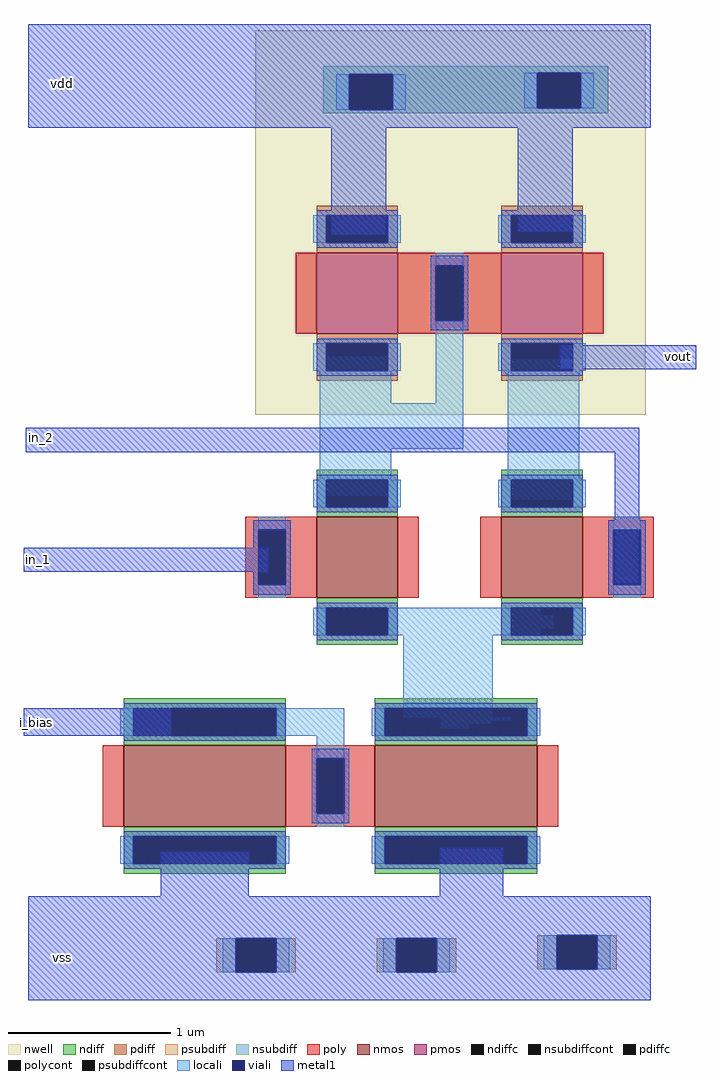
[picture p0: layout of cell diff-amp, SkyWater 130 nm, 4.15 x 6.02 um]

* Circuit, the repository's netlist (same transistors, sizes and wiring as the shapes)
* NGSPICE file created from diff-amp.ext - technology: sky130A

* Include SkyWater sky130 device models
.include "/home/mhasan13/pdk/skywater-pdk/libraries/sky130_fd_pr/latest/models/r+c/res_typical__cap_typical__lin.spice"
.include "/home/mhasan13/pdk/skywater-pdk/libraries/sky130_fd_pr/latest/models/r+c/res_typical__cap_typical.spice"
.include "/home/mhasan13/pdk/skywater-pdk/libraries/sky130_fd_pr/latest/models/corners/tt.spice"

* Vdd vdd gnd DC 0.7
* Vgnd vss gnd DC 0.0
* Ibias vdd i_bias DC 1n
* Vref in_2 vout DC 0.0
* Vin in_1 gnd DC 0.2 

Vdd vdd gnd DC 0.7
Vgnd vss gnd DC 0.0
Ibias vdd i_bias DC 1n
Vshort in_2 vout DC 0.0
Vin in_1 gnd DC PULSE(0 0.7 100p 1u 1u 10u 20u)

.subckt sky130_fd_pr__pfet_01v8_hymyl3 VSUBS a_n50_n112# a_50_n86# w_n144_n148# a_n108_n86#
X0 a_50_n86# a_n50_n112# a_n108_n86# w_n144_n148# sky130_fd_pr__pfet_01v8 w=500000u l=500000u
.ends

.subckt sky130_fd_pr__nfet_01v8_2qpbu2 VSUBS a_n108_n131# a_n50_n157# a_50_n131#
X0 a_50_n131# a_n50_n157# a_n108_n131# VSUBS sky130_fd_pr__nfet_01v8 w=1e+06u l=500000u
.ends

.subckt sky130_fd_pr__nfet_01v8_hhwku0 VSUBS a_n50_n107# a_50_n81# a_n108_n81#
X0 a_50_n81# a_n50_n107# a_n108_n81# VSUBS sky130_fd_pr__nfet_01v8 w=500000u l=500000u
.ends

.subckt diff-amp in_1 in_2 i_bias vdd vss vout
Xsky130_fd_pr__pfet_01v8_hymyl3_0 vss li_92_184# li_92_184# vdd vdd sky130_fd_pr__pfet_01v8_hymyl3
Xsky130_fd_pr__pfet_01v8_hymyl3_1 vss li_92_184# vdd vdd vout sky130_fd_pr__pfet_01v8_hymyl3
Xsky130_fd_pr__nfet_01v8_2qpbu2_0 vss vss i_bias li_176_12# sky130_fd_pr__nfet_01v8_2qpbu2
Xsky130_fd_pr__nfet_01v8_2qpbu2_1 vss i_bias i_bias vss sky130_fd_pr__nfet_01v8_2qpbu2
Xsky130_fd_pr__nfet_01v8_hhwku0_0 vss in_1 li_92_184# li_176_12# sky130_fd_pr__nfet_01v8_hhwku0
Xsky130_fd_pr__nfet_01v8_hhwku0_1 vss in_2 li_176_12# vout sky130_fd_pr__nfet_01v8_hhwku0
.ends



*instantiate
Xdiff in_1 in_2 i_bias vdd vss vout diff-amp

.control
* dc Vin 0 0.7 0.01
* plot v(in_2) v(in_1) v(vout)

tran 100n 50u
plot v(in_1) v(vout)
.endc
.end

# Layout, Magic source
magic
tech sky130A
magscale 1 2
<< nwell >>
rect 12 284 494 758
<< psubdiff >>
rect -36 -404 -12 -362
rect 38 -404 62 -362
rect 162 -404 186 -362
rect 236 -404 260 -362
rect 360 -400 384 -358
rect 434 -400 458 -358
<< nsubdiff >>
rect 96 706 448 714
rect 96 704 360 706
rect 96 660 128 704
rect 182 662 360 704
rect 414 662 448 706
rect 182 660 448 662
rect 96 656 448 660
<< psubdiffcont >>
rect -12 -404 38 -362
rect 186 -404 236 -362
rect 384 -400 434 -358
<< nsubdiffcont >>
rect 128 660 182 704
rect 360 662 414 706
<< locali >>
rect 112 660 128 704
rect 182 660 198 704
rect 344 662 360 706
rect 414 662 430 706
rect 92 298 180 356
rect 235 298 269 389
rect 92 242 269 298
rect 92 184 180 242
rect 324 180 412 352
rect 176 36 364 46
rect 176 20 380 36
rect 176 12 364 20
rect 48 -110 122 -78
rect 195 -89 305 12
rect 241 -93 327 -89
rect 241 -97 303 -93
rect 241 -103 275 -97
rect 50 -112 122 -110
rect 88 -134 122 -112
rect -28 -404 -12 -362
rect 38 -404 54 -362
rect 170 -404 186 -362
rect 236 -404 252 -362
rect 368 -400 384 -358
rect 434 -400 450 -358
<< viali >>
rect 128 660 182 704
rect 360 662 414 706
rect -12 -404 38 -362
rect 186 -404 236 -362
rect 384 -400 434 -358
<< metal1 >>
rect -268 706 500 766
rect -268 704 360 706
rect -268 660 128 704
rect 182 662 360 704
rect 414 662 500 706
rect 182 660 500 662
rect -268 638 500 660
rect 106 506 174 638
rect 336 510 404 638
rect 388 340 556 370
rect -271 238 486 268
rect -273 90 28 120
rect 456 76 486 238
rect -273 -112 -92 -78
rect -104 -310 4 -256
rect 240 -310 318 -250
rect -268 -358 500 -310
rect -268 -362 384 -358
rect -268 -404 -12 -362
rect 38 -404 186 -362
rect 236 -400 384 -362
rect 434 -400 500 -358
rect 236 -404 500 -400
rect -268 -438 500 -404
use sky130_fd_pr__nfet_01v8_2qpbu2  sky130_fd_pr__nfet_01v8_2qpbu2_1
transform 0 1 -19 -1 0 -174
box -108 -157 108 157
use sky130_fd_pr__nfet_01v8_hhwku0  sky130_fd_pr__nfet_01v8_hhwku0_0
transform 0 -1 107 1 0 108
box -108 -107 108 107
use sky130_fd_pr__pfet_01v8_hymyl3  sky130_fd_pr__pfet_01v8_hymyl3_0
transform 0 1 174 -1 0 434
box -144 -148 144 114
use sky130_fd_pr__pfet_01v8_hymyl3  sky130_fd_pr__pfet_01v8_hymyl3_1
transform 0 -1 330 1 0 434
box -144 -148 144 114
use sky130_fd_pr__nfet_01v8_hhwku0  sky130_fd_pr__nfet_01v8_hhwku0_1
transform 0 1 397 -1 0 108
box -108 -107 108 107
use sky130_fd_pr__nfet_01v8_2qpbu2  sky130_fd_pr__nfet_01v8_2qpbu2_0
transform 0 -1 229 1 0 -174
box -108 -157 108 157
<< labels >>
flabel metal1 -264 100 -246 112 0 FreeSans 800 0 0 0 in_1
port 0 nsew
flabel metal1 -260 250 -242 262 0 FreeSans 800 0 0 0 in_2
port 1 nsew
flabel metal1 -266 -102 -248 -90 0 FreeSans 800 0 0 0 i_bias
port 2 nsew
flabel metal1 -234 686 -216 698 0 FreeSans 800 0 0 0 vdd
port 3 nsew
flabel metal1 -234 -392 -216 -380 0 FreeSans 800 0 0 0 vss
port 5 nsew
flabel metal1 530 350 538 362 0 FreeSans 800 0 0 0 vout
port 7 nsew
<< end >>

# cell sky130_fd_pr__nfet_01v8_2qpbu2: kit device sky130_fd_pr__nfet_01v8, w 1 l 0.5 m 1 nf 1 diffcov 100 polycov 100 guard 0 glc 0 grc 0 gtc 0 gbc 0 tbcov 100 rlcov 100 topc 1 botc 0 poverlap 0 doverlap 1 lmin 0.15 wmin 0.42 compatible {sky130_fd_pr__nfet_01v8 sky130_fd_pr__nfet_01v8_lvt sky130_fd_bs_flash__special_sonosfet_star sky130_fd_pr__nfet_g5v0d10v5 sky130_fd_pr__nfet_05v0_nvt} full_metal 0 viasrc 100 viadrn 100 viagate 100 viagb 0 viagr 0 viagl 0 viagt 0

# cell sky130_fd_pr__nfet_01v8_hhwku0: kit device sky130_fd_pr__nfet_01v8, w 0.5 l 0.5 m 1 nf 1 diffcov 100 polycov 100 guard 0 glc 0 grc 0 gtc 0 gbc 0 tbcov 100 rlcov 100 topc 1 botc 0 poverlap 0 doverlap 1 lmin 0.15 wmin 0.42 compatible {sky130_fd_pr__nfet_01v8 sky130_fd_pr__nfet_01v8_lvt sky130_fd_bs_flash__special_sonosfet_star sky130_fd_pr__nfet_g5v0d10v5 sky130_fd_pr__nfet_05v0_nvt} full_metal 0 viasrc 100 viadrn 100 viagate 100 viagb 0 viagr 0 viagl 0 viagt 0

# cell sky130_fd_pr__pfet_01v8_hymyl3: kit device sky130_fd_pr__pfet_01v8, w 0.5 l 0.5 m 1 nf 1 diffcov 100 polycov 100 guard 0 glc 0 grc 0 gtc 0 gbc 0 tbcov 100 rlcov 100 topc 1 botc 0 poverlap 0 doverlap 1 lmin 0.15 wmin 0.42 compatible {sky130_fd_pr__pfet_01v8 sky130_fd_pr__pfet_01v8_lvt sky130_fd_pr__pfet_01v8_hvt sky130_fd_pr__pfet_g5v0d10v5} full_metal 0 viagl 0 viagr 0 viagt 0 viagb 0 viagate 100 viadrn 100 viasrc 100
